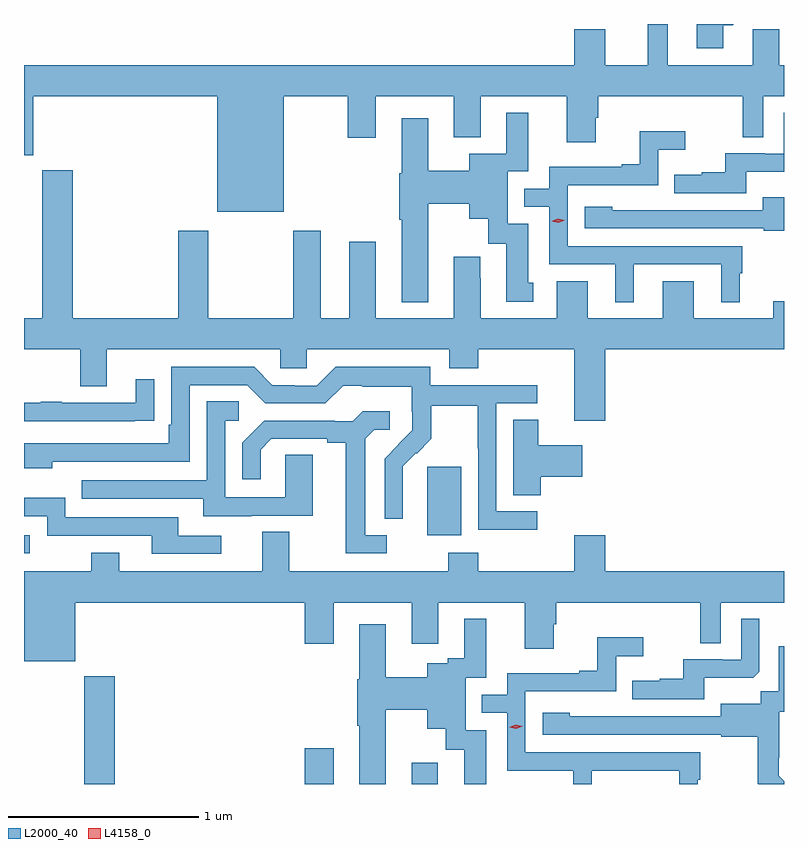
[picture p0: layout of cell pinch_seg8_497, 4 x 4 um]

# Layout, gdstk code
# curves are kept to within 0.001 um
import gdstk
lib = gdstk.Library(unit=1e-6, precision=1e-09)
def R(c, l, rs):  # rectangles x0, y0, x1, y1
    for r in rs: c.add(gdstk.rectangle(r[:2], r[2:], *l))
def P(c, l, *ps):  # polygons
    for p in ps: c.add(gdstk.Polygon(p, *l))
L2000_40 = (2000, 40)
L4158_0 = (4158, 0)

pinch_seg8_497 = lib.new_cell('pinch_seg8_497')
R(pinch_seg8_497, L2000_40, [(222.37,1114.213,222.53,1114.78), (223.529,1114.213,223.681,1114.402), (224.093,1114.213,224.23,1114.324), (222.052,1115.427,222.082,1115.523), (224.174,1115.522,224.353,1115.883)])
P(pinch_seg8_497, L2000_40, [(225.733,1118.207),(225.782,1118.207),(225.788,1118.213),(225.593,1118.213),(225.593,1118.085),(225.733,1118.085)],
  [(225.439,1118.212),(225.335,1118.212),(225.335,1117.996),(225.112,1117.996),(225.112,1118.185),(224.948,1118.185),(224.948,1117.996),(222.052,1117.996),(222.052,1117.523),(222.1,1117.523),(222.1,1117.832),(223.07,1117.832),(223.07,1117.226),(223.42,1117.226),(223.42,1117.832),(223.756,1117.832),(223.756,1117.614),(223.903,1117.614),(223.903,1117.832),(224.315,1117.832),(224.315,1117.616),(224.455,1117.616),(224.455,1117.832),(224.909,1117.832),(224.909,1117.59),(225.061,1117.59),(225.061,1117.719),(225.074,1117.719),(225.074,1117.832),(225.834,1117.832),(225.834,1117.618),(225.942,1117.618),(225.942,1117.832),(226.052,1117.832),(226.052,1117.996),(226.027,1117.996),(226.027,1118.186),(225.888,1118.186),(225.888,1117.996),(225.439,1117.996)],
  [(224.179,1117.268),(224.396,1117.268),(224.396,1117.187),(224.495,1117.187),(224.495,1117.056),(224.591,1117.056),(224.591,1116.75),(224.731,1116.75),(224.731,1116.852),(224.707,1116.852),(224.707,1117.161),(224.598,1117.161),(224.598,1117.437),(224.707,1117.437),(224.707,1117.747),(224.591,1117.747),(224.591,1117.531),(224.396,1117.531),(224.396,1117.44),(224.179,1117.44),(224.179,1117.717),(224.039,1117.717),(224.039,1117.428),(224.027,1117.428),(224.027,1117.184),(224.039,1117.184),(224.039,1116.749),(224.179,1116.749)],
  [(225.853,1117.436),(226.052,1117.436),(226.052,1117.747),(226.05,1117.747),(226.05,1117.53),(225.95,1117.53),(225.95,1117.533),(225.743,1117.533),(225.743,1117.432),(225.619,1117.432),(225.619,1117.42),(225.475,1117.42),(225.475,1117.323),(225.853,1117.323)],
  [(225.262,1116.948),(225.722,1116.948),(225.722,1116.749),(225.82,1116.749),(225.82,1116.9),(225.832,1116.9),(225.832,1117.044),(224.913,1117.044),(224.913,1117.365),(225.39,1117.365),(225.39,1117.55),(225.532,1117.55),(225.532,1117.649),(225.292,1117.649),(225.292,1117.474),(225.197,1117.474),(225.197,1117.461),(224.817,1117.461),(224.817,1117.347),(224.684,1117.347),(224.684,1117.251),(224.817,1117.251),(224.817,1116.948),(225.164,1116.948),(225.164,1116.749),(225.262,1116.749)],
  [(225.112,1116.5),(226.052,1116.5),(226.052,1116.755),(225.995,1116.755),(225.995,1116.664),(225.577,1116.664),(225.577,1116.859),(225.413,1116.859),(225.413,1116.664),(225.019,1116.664),(225.019,1116.859),(224.855,1116.859),(224.855,1116.664),(224.455,1116.664),(224.455,1116.875),(224.452,1116.875),(224.452,1116.988),(224.315,1116.988),(224.315,1116.664),(223.903,1116.664),(223.903,1117.066),(223.763,1117.066),(223.763,1116.664),(223.615,1116.664),(223.615,1117.126),(223.468,1117.126),(223.468,1116.664),(223.023,1116.664),(223.023,1117.126),(222.863,1117.126),(222.863,1116.664),(222.308,1116.664),(222.308,1117.444),(222.148,1117.444),(222.148,1116.664),(222.052,1116.664),(222.052,1116.5),(222.347,1116.5),(222.347,1116.306),(222.487,1116.306),(222.487,1116.5),(223.401,1116.5),(223.401,1116.402),(223.539,1116.402),(223.539,1116.5),(224.291,1116.5),(224.291,1116.401),(224.444,1116.401),(224.444,1116.5),(224.948,1116.5),(224.948,1116.126),(225.112,1116.126)],
  [(226.052,1117.3),(225.941,1117.3),(225.941,1117.233),(225.383,1117.233),(225.383,1117.234),(225.147,1117.234),(225.147,1117.252),(225.003,1117.252),(225.003,1117.137),(225.945,1117.137),(225.945,1117.125),(226.052,1117.125)],
  [(224.752,1115.649),(224.538,1115.649),(224.538,1116.216),(224.752,1116.216),(224.752,1116.312),(224.19,1116.312),(224.19,1116.409),(223.693,1116.409),(223.593,1116.309),(223.478,1116.309),(223.478,1116.312),(223.359,1116.312),(223.263,1116.408),(222.828,1116.408),(222.828,1116.103),(222.815,1116.103),(222.815,1116.006),(222.052,1116.006),(222.052,1115.876),(222.2,1115.876),(222.2,1115.91),(222.924,1115.91),(222.924,1116.312),(223.227,1116.312),(223.323,1116.216),(223.638,1116.216),(223.731,1116.309),(223.831,1116.309),(223.831,1116.305),(224.094,1116.305),(224.094,1116.171),(224.096,1116.171),(224.096,1116.074),(223.95,1115.926),(223.95,1115.608),(224.046,1115.608),(224.045,1115.885),(224.115,1115.955),(224.118,1115.952),(224.195,1116.029),(224.195,1116.204),(224.44,1116.204),(224.44,1115.98),(224.442,1115.98),(224.442,1115.551),(224.752,1115.551)],
  [(222.635,1116.124),(222.737,1116.124),(222.737,1116.343),(222.641,1116.343),(222.641,1116.219),(222.251,1116.219),(222.251,1116.224),(222.139,1116.224),(222.139,1116.219),(222.052,1116.219),(222.052,1116.123),(222.635,1116.123)],
  [(223.249,1115.625),(223.573,1115.625),(223.573,1115.945),(223.428,1115.945),(223.428,1115.721),(223.11,1115.721),(223.11,1116.126),(223.183,1116.126),(223.183,1116.227),(223.014,1116.227),(223.014,1115.811),(222.355,1115.811),(222.355,1115.715),(222.995,1115.715),(222.995,1115.621),(223.249,1115.621)],
  [(223.96,1115.523),(223.849,1115.523),(223.849,1116.031),(223.896,1116.078),(223.978,1116.078),(223.978,1116.175),(223.834,1116.175),(223.782,1116.123),(223.688,1116.123),(223.688,1116.126),(223.316,1116.126),(223.2,1116.01),(223.2,1115.817),(223.297,1115.817),(223.297,1115.973),(223.354,1116.03),(223.649,1116.03),(223.649,1116.008),(223.745,1116.008),(223.745,1115.427),(223.96,1115.427)],
  [(224.771,1115.83),(224.989,1115.83),(224.989,1115.995),(224.758,1115.995),(224.758,1116.131),(224.627,1116.131),(224.627,1115.734),(224.771,1115.734)],
  [(223.09,1115.52),(222.865,1115.52),(222.865,1115.616),(222.27,1115.616),(222.27,1115.719),(222.052,1115.719),(222.052,1115.622),(222.174,1115.622),(222.174,1115.52),(222.725,1115.52),(222.725,1115.424),(223.09,1115.424)],
  [(223.447,1115.54),(223.307,1115.54),(223.307,1115.332),(222.553,1115.332),(222.553,1115.431),(222.406,1115.431),(222.406,1115.332),(222.052,1115.332),(222.052,1114.859),(222.322,1114.859),(222.322,1115.168),(223.529,1115.168),(223.529,1114.95),(223.681,1114.95),(223.681,1115.168),(224.093,1115.168),(224.093,1114.95),(224.233,1114.95),(224.233,1115.168),(224.687,1115.168),(224.687,1114.926),(224.839,1114.926),(224.839,1115.055),(224.852,1115.055),(224.852,1115.168),(225.612,1115.168),(225.612,1114.954),(225.72,1114.954),(225.72,1115.168),(226.052,1115.168),(226.052,1115.332),(225.112,1115.332),(225.112,1115.521),(224.948,1115.521),(224.948,1115.332),(224.444,1115.332),(224.444,1115.431),(224.284,1115.431),(224.284,1115.332),(223.447,1115.332)],
  [(223.957,1114.604),(224.174,1114.604),(224.174,1114.505),(224.273,1114.505),(224.273,1114.392),(224.369,1114.392),(224.369,1114.213),(224.485,1114.213),(224.485,1114.497),(224.376,1114.497),(224.376,1114.773),(224.485,1114.773),(224.485,1115.083),(224.369,1115.083),(224.369,1114.874),(224.283,1114.874),(224.283,1114.849),(224.174,1114.849),(224.174,1114.776),(223.957,1114.776),(223.957,1115.053),(223.817,1115.053),(223.817,1114.764),(223.805,1114.764),(223.805,1114.52),(223.817,1114.52),(223.817,1114.213),(223.957,1114.213)],
  [(225.631,1114.772),(225.889,1114.772),(225.921,1114.803),(225.921,1115.083),(225.828,1115.083),(225.828,1114.866),(225.728,1114.866),(225.728,1114.869),(225.521,1114.869),(225.521,1114.768),(225.397,1114.768),(225.397,1114.756),(225.253,1114.756),(225.253,1114.659),(225.631,1114.659)],
  [(225.04,1114.284),(225.5,1114.284),(225.5,1114.213),(225.598,1114.213),(225.598,1114.236),(225.61,1114.236),(225.61,1114.38),(224.691,1114.38),(224.691,1114.701),(225.168,1114.701),(225.168,1114.886),(225.31,1114.886),(225.31,1114.985),(225.07,1114.985),(225.07,1114.81),(224.975,1114.81),(224.975,1114.797),(224.595,1114.797),(224.595,1114.683),(224.462,1114.683),(224.462,1114.587),(224.595,1114.587),(224.595,1114.284),(224.942,1114.284),(224.942,1114.213),(225.04,1114.213)],
  [(226.052,1114.228),(226.024,1114.256),(226.024,1114.351),(226.026,1114.351),(226.026,1114.592),(226.052,1114.592),(226.052,1114.939),(226.025,1114.939),(226.025,1114.7),(225.93,1114.7),(225.93,1114.636),(225.719,1114.636),(225.719,1114.569),(224.925,1114.57),(224.925,1114.588),(224.781,1114.588),(224.781,1114.473),(225.723,1114.473),(225.723,1114.461),(225.915,1114.461),(225.915,1114.215),(225.917,1114.213),(226.052,1114.213)])
P(pinch_seg8_497, L4158_0, [(224.864,1117.168),(224.829,1117.175),(224.829,1117.175),(224.829,1117.175),(224.862,1117.188),(224.897,1117.18),(224.898,1117.18),(224.897,1117.18)],
  [(224.642,1114.505),(224.607,1114.512),(224.606,1114.512),(224.607,1114.512),(224.64,1114.524),(224.675,1114.517),(224.676,1114.517),(224.675,1114.517)])

lib.write_gds('pinch_seg8_497.gds')
